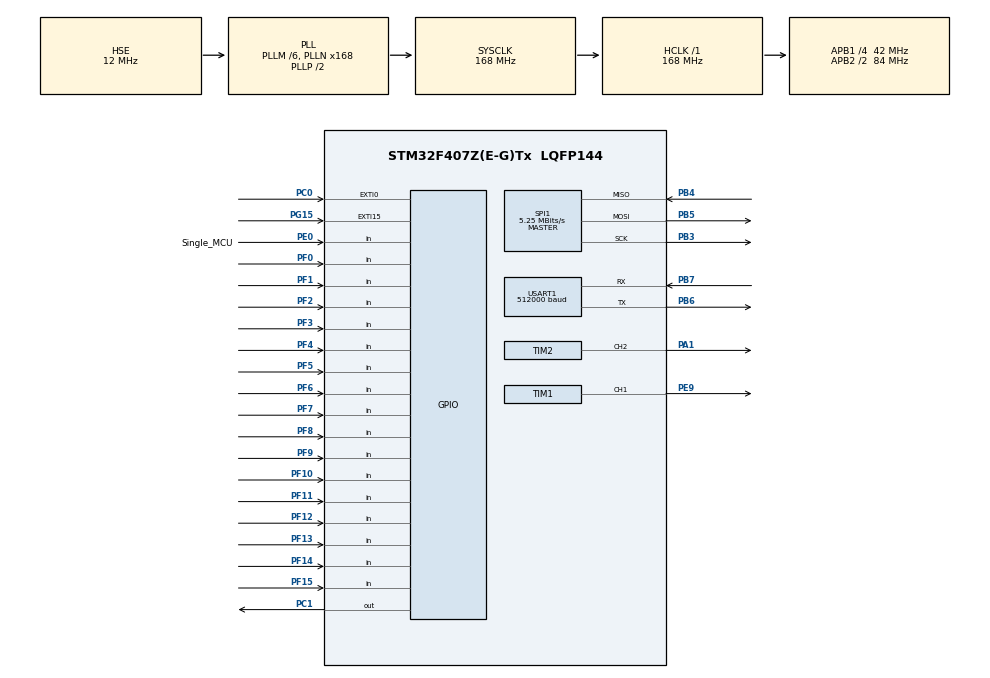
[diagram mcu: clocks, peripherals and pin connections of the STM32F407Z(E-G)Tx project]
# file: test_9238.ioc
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Dma.Request0=TIM1_UP
Dma.Request1=SPI1_TX
Dma.Request2=SPI1_RX
Dma.SPI1_RX.2.Direction=DMA_PERIPH_TO_MEMORY
Dma.SPI1_RX.2.FIFOMode=DMA_FIFOMODE_DISABLE
Dma.SPI1_RX.2.Instance=DMA2_Stream0
Dma.SPI1_RX.2.MemDataAlignment=DMA_MDATAALIGN_HALFWORD
Dma.SPI1_RX.2.MemInc=DMA_MINC_ENABLE
Dma.SPI1_RX.2.Mode=DMA_NORMAL
Dma.SPI1_RX.2.PeriphDataAlignment=DMA_PDATAALIGN_HALFWORD
Dma.SPI1_RX.2.PeriphInc=DMA_PINC_DISABLE
Dma.SPI1_RX.2.Priority=DMA_PRIORITY_LOW
Dma.SPI1_TX.1.Direction=DMA_MEMORY_TO_PERIPH
Dma.SPI1_TX.1.FIFOMode=DMA_FIFOMODE_DISABLE
Dma.SPI1_TX.1.Instance=DMA2_Stream3
Dma.SPI1_TX.1.MemDataAlignment=DMA_MDATAALIGN_HALFWORD
Dma.SPI1_TX.1.MemInc=DMA_MINC_ENABLE
Dma.SPI1_TX.1.Mode=DMA_NORMAL
Dma.SPI1_TX.1.PeriphDataAlignment=DMA_PDATAALIGN_HALFWORD
Dma.SPI1_TX.1.PeriphInc=DMA_PINC_DISABLE
Dma.SPI1_TX.1.Priority=DMA_PRIORITY_LOW
Dma.TIM1_UP.0.Direction=DMA_PERIPH_TO_MEMORY
Dma.TIM1_UP.0.FIFOMode=DMA_FIFOMODE_DISABLE
Dma.TIM1_UP.0.Instance=DMA2_Stream5
Dma.TIM1_UP.0.MemDataAlignment=DMA_MDATAALIGN_HALFWORD
Dma.TIM1_UP.0.MemInc=DMA_MINC_ENABLE
Dma.TIM1_UP.0.Mode=DMA_CIRCULAR
Dma.TIM1_UP.0.PeriphDataAlignment=DMA_PDATAALIGN_HALFWORD
Dma.TIM1_UP.0.PeriphInc=DMA_PINC_DISABLE
Dma.TIM1_UP.0.Priority=DMA_PRIORITY_LOW
Mcu.Family=STM32F4
Mcu.Name=STM32F407Z(E-G)Tx
Mcu.Package=LQFP144
NVIC.DMA2_Stream0_IRQn=true\:0\:0\:false\:false\:true\:false\:true\:true
NVIC.DMA2_Stream3_IRQn=true\:0\:0\:false\:false\:true\:false\:true\:true
NVIC.DMA2_Stream5_IRQn=true\:0\:0\:false\:false\:true\:false\:true\:true
NVIC.EXTI0_IRQn=true\:15\:0\:true\:false\:true\:true\:true\:true
NVIC.EXTI15_10_IRQn=true\:15\:0\:true\:false\:true\:true\:true\:true
NVIC.PriorityGroup=NVIC_PRIORITYGROUP_4
NVIC.SPI1_IRQn=true\:0\:0\:false\:false\:true\:true\:true\:true
NVIC.USART1_IRQn=true\:1\:0\:true\:false\:true\:true\:true\:true
PA1.Signal=S_TIM2_CH2
PA13.Mode=Serial_Wire
PA13.Signal=SYS_JTMS-SWDIO
PA14.Mode=Serial_Wire
PA14.Signal=SYS_JTCK-SWCLK
PB3.Mode=Full_Duplex_Master
PB3.Signal=SPI1_SCK
PB4.Mode=Full_Duplex_Master
PB4.Signal=SPI1_MISO
PB5.Mode=Full_Duplex_Master
PB5.Signal=SPI1_MOSI
PB6.Mode=Asynchronous
PB6.Signal=USART1_TX
PB7.Mode=Asynchronous
PB7.Signal=USART1_RX
PC0.GPIO_PuPd=GPIO_PULLDOWN
PC0.Signal=GPXTI0
PC1.GPIO_PuPd=GPIO_PULLDOWN
PC1.GPIO_Speed=GPIO_SPEED_FREQ_HIGH
PC1.Signal=GPIO_Output
PE0.GPIO_Label=Single_MCU
PE0.GPIO_PuPd=GPIO_PULLUP
PE0.Signal=GPIO_Input
PE9.Signal=S_TIM1_CH1
PF0.GPIO_PuPd=GPIO_NOPULL
PF0.Signal=GPIO_Input
PF1.GPIO_PuPd=GPIO_PULLUP
PF1.Signal=GPIO_Input
PF10.GPIO_PuPd=GPIO_PULLUP
PF10.Signal=GPIO_Input
PF11.GPIO_PuPd=GPIO_PULLUP
PF11.Signal=GPIO_Input
PF12.GPIO_PuPd=GPIO_PULLUP
PF12.Signal=GPIO_Input
PF13.GPIO_PuPd=GPIO_NOPULL
PF13.Signal=GPIO_Input
PF14.GPIO_PuPd=GPIO_PULLDOWN
PF14.Signal=GPIO_Input
PF15.GPIO_PuPd=GPIO_NOPULL
PF15.Signal=GPIO_Input
PF2.GPIO_PuPd=GPIO_PULLUP
PF2.Signal=GPIO_Input
PF3.GPIO_PuPd=GPIO_PULLUP
PF3.Signal=GPIO_Input
PF4.GPIO_PuPd=GPIO_PULLUP
PF4.Signal=GPIO_Input
PF5.GPIO_PuPd=GPIO_PULLUP
PF5.Signal=GPIO_Input
PF6.GPIO_PuPd=GPIO_PULLUP
PF6.Signal=GPIO_Input
PF7.GPIO_PuPd=GPIO_PULLUP
PF7.Signal=GPIO_Input
PF8.GPIO_PuPd=GPIO_PULLUP
PF8.Signal=GPIO_Input
PF9.GPIO_PuPd=GPIO_PULLUP
PF9.Signal=GPIO_Input
PG15.GPIO_PuPd=GPIO_PULLDOWN
PG15.Signal=GPXTI15
PH0-OSC_IN.Mode=HSE-External-Oscillator
PH0-OSC_IN.Signal=RCC_OSC_IN
PH1-OSC_OUT.Mode=HSE-External-Oscillator
PH1-OSC_OUT.Signal=RCC_OSC_OUT
ProjectManager.HeapSize=0x200
ProjectManager.StackSize=0x400
ProjectManager.TargetToolchain=MDK-ARM V5.32
RCC.48MHZClocksFreq_Value=84000000
RCC.AHBFreq_Value=168000000
RCC.APB1CLKDivider=RCC_HCLK_DIV4
RCC.APB1Freq_Value=42000000
RCC.APB1TimFreq_Value=84000000
RCC.APB2CLKDivider=RCC_HCLK_DIV2
RCC.APB2Freq_Value=84000000
RCC.APB2TimFreq_Value=168000000
RCC.CortexFreq_Value=168000000
RCC.HCLKFreq_Value=168000000
RCC.HSE_VALUE=12000000
RCC.HSI_VALUE=16000000
RCC.LSE_VALUE=32768
RCC.PLLM=6
RCC.PLLN=168
RCC.SYSCLKFreq_VALUE=168000000
RCC.SYSCLKSource=RCC_SYSCLKSOURCE_PLLCLK
RCC.VCOOutputFreq_Value=336000000
SH.S_TIM1_CH1.0=TIM1_CH1,PWM Generation1 CH1
SH.S_TIM2_CH2.0=TIM2_CH2,PWM Generation2 CH2
SPI1.BaudRatePrescaler=SPI_BAUDRATEPRESCALER_16
SPI1.CalculateBaudRate=5.25 MBits/s
SPI1.DataSize=SPI_DATASIZE_16BIT
SPI1.Direction=SPI_DIRECTION_2LINES
SPI1.Mode=SPI_MODE_MASTER
SPI1.VirtualType=VM_MASTER
TIM1.Channel-PWM\ Generation1\ CH1=TIM_CHANNEL_1
TIM1.TIM_MasterOutputTrigger=TIM_TRGO_UPDATE
TIM2.Channel-PWM\ Generation2\ CH2=TIM_CHANNEL_2
USART1.BaudRate=512000
USART1.VirtualMode=VM_ASYNC
VP_TIM1_VS_ClockSourceINT.Mode=Internal
VP_TIM2_VS_ClockSourceINT.Mode=Internal
board=custom

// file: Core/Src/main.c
/* USER CODE BEGIN Header */
/**
  ******************************************************************************
  * @file           : main.c
  * @brief          : Main program body
  ******************************************************************************
  * @attention
  *
  * Copyright (c) 2026 STMicroelectronics.
  * All rights reserved.
  *
  * This software is licensed under terms that can be found in the LICENSE file
  * in the root directory of this software component.
  * If no LICENSE file comes with this software, it is provided AS-IS.
  *
  ******************************************************************************
  */
/* USER CODE END Header */
#include "main.h"
#include "dma.h"
#include "spi.h"
#include "tim.h"
#include "gpio.h"
#include "usart.h"
#include "screen_app.h"

/* USER CODE BEGIN PD */
#define DAC_SPS 6000000
#define FFT_SIZE 4096
#define PF1_TO_PF12_MASK  0x7FF8
/* TIM1 读时刻相对 TIM2(ADC 时钟)上升沿的滞后：取 TIM1 ARR/2=21，
   使 DMA 读落在 ADC 时钟周期中点(~250ns)，避开 ADC 输出翻转窗 */
#define TIM1_READ_PHASE_OFFSET 21
/* USER CODE END PD */

/* USER CODE BEGIN PV */
//flag
volatile uint8_t buma=0;
volatile uint8_t ad9238_ok_flag=0;
volatile uint8_t data_1_flag=1;
volatile uint8_t rebegin_enable_flag=0;
//

/* H7 通信相关标志（当前已注释通信，保留声明以免后续恢复） */
//volatile uint8_t tx_enable_flag=0;
//volatile uint8_t tx_cplt_flag=0;
//volatile uint8_t rx_enable_flag=0;
//volatile uint8_t rx_cplt_flag=0;

extern DMA_HandleTypeDef hdma_tim1_up;
__attribute__((aligned(16))) uint16_t adc_data_3[FFT_SIZE];
//__attribute__((aligned(32))) uint32_t rxBuffer[6]={0};

volatile uint8_t a=0;
/* TIM1 读相位偏移（等效采样时随 ARR 更新） */
volatile uint16_t tim1_read_phase_offset = TIM1_READ_PHASE_OFFSET;
/* USER CODE END PV */

void SystemClock_Config(void);
/* USER CODE BEGIN PFP */
void HAL_DMA_XferCpltCallback(DMA_HandleTypeDef *hdma)
{
  ad9238_ok_flag=1;
}

/* H7 通信回调（当前已注释通信，保留以备恢复） */
//void HAL_GPIO_EXTI_Callback(uint16_t GPIO_Pin)
//{
//  if(GPIO_Pin==GPIO_PIN_15){
//    tx_enable_flag=1;
//  }else if(GPIO_Pin==GPIO_PIN_0){
//    rx_enable_flag=1;
//  }
//}
//
//void HAL_SPI_TxCpltCallback(SPI_HandleTypeDef *hspi)
//{
//  if(hspi->Instance==SPI1){
//    tx_cplt_flag=1;
//  }
//}
//
//void HAL_SPI_RxCpltCallback(SPI_HandleTypeDef *hspi)
//{
//  if(hspi->Instance==SPI1){
//    rx_cplt_flag=1;
//  }
//}

/* USER CODE END PFP */

int main(void)
{

  /* MCU Configuration--------------------------------------------------------*/

  /* Reset of all peripherals, Initializes the Flash interface and the Systick. */
  HAL_Init();

  /* Configure the system clock */
  SystemClock_Config();

  /* Initialize all configured peripherals */
  MX_GPIO_Init();
  MX_DMA_Init();
  MX_TIM1_Init();
  MX_TIM2_Init();
  MX_SPI1_Init();
  MX_USART1_UART_Init();
  /* USER CODE BEGIN 2 */
  HAL_GPIO_WritePin(GPIOG, GPIO_PIN_15, GPIO_PIN_RESET);        //始终开启片选

  /* ---- AD9238 采集时序配置（保留） ---- */
	TIM2->PSC =2-1;
	TIM2->ARR = (42000000U + DAC_SPS / 2U) / DAC_SPS - 1U;
  TIM2->EGR |= TIM_EGR_UG;
	__HAL_TIM_SET_COMPARE(&htim2, TIM_CHANNEL_2, (TIM2->ARR+1)*2/3);
	HAL_TIM_PWM_Start(&htim2, TIM_CHANNEL_2);

  TIM1->PSC =2-1;
	TIM1->ARR = (84000000U + DAC_SPS / 2U) / DAC_SPS - 1U;
  TIM1->EGR |= TIM_EGR_UG;

	hdma_tim1_up.XferCpltCallback = HAL_DMA_XferCpltCallback;
	HAL_DMA_Start_IT(&hdma_tim1_up, (uint32_t)&GPIOF->IDR ,(uint32_t)adc_data_3,  sizeof(adc_data_3)/sizeof(uint16_t));
__HAL_TIM_ENABLE_DMA(&htim1, TIM_DMA_UPDATE);

	HAL_Delay(1);
	__HAL_TIM_ENABLE(&htim2);
	__NOP();
	__NOP();__NOP();__NOP();__NOP();

	__HAL_TIM_SET_COUNTER(&htim1, tim1_read_phase_offset);
	__HAL_TIM_ENABLE(&htim1);

  /* ---- 屏幕显示初始化（屏工程逻辑，内部含 500ms 屏启动等待）---- */
  ScreenApp_Init();
  /* USER CODE END 2 */

  /* Infinite loop */
  /* USER CODE BEGIN WHILE */
  while (1)
  {
    /* 屏幕显示任务：当前数据源为 wave_table 测试数据（SCREEN_TEST_ENABLE=1） */
    ScreenApp_Task();

    /* ---- AD9238 采集处理（保留） ---- */
    if(ad9238_ok_flag==1){
      ad9238_ok_flag=0;
      __HAL_TIM_DISABLE(&htim1);
      __HAL_TIM_DISABLE(&htim2);
      __HAL_TIM_SET_COUNTER(&htim2, 0);__HAL_TIM_SET_COUNTER(&htim1, tim1_read_phase_offset);

      /* 12 位数据转换（buma=1 符号扩展，buma=0 直接右移） */
      if(buma==1){
        for (uint16_t i = 0; i < FFT_SIZE; i++)
        {
          uint16_t raw_data = ((adc_data_3[i] & 0x7FF8) >> 3);
          if (raw_data & (0x0800)) {
            adc_data_3[i] = (int16_t)(raw_data | 0xF000);
          } else {
            adc_data_3[i] = (int16_t)raw_data;
          }
        }
      }else if(buma==0){
        for (uint16_t i = 0; i < FFT_SIZE; i++){
          uint16_t raw_data = ((adc_data_3[i] & 0x7FF8) >> 3);
          adc_data_3[i] = raw_data;
        }
      }

      /* 转换完成，自动重新开始采集 */
      rebegin_enable_flag=1;
    }

    /* ---- H7 通信（已注释，屏显示仅用 wave_table 测试数据）---- */
    /*
    if(data_1_flag==1 && tx_enable_flag==1){
      data_1_flag=0;
      tx_enable_flag=0;
      HAL_SPI_Transmit_DMA(&hspi1, (uint8_t*)adc_data_3, sizeof(adc_data_3)/sizeof(uint16_t));
    }
    if(tx_cplt_flag==1 && rx_enable_flag==1){
      tx_cplt_flag=0;
      rx_enable_flag=0;
      HAL_SPI_Receive_DMA(&hspi1, (uint8_t*)rxBuffer, sizeof(rxBuffer)/sizeof(uint16_t));
    }
    if(rx_cplt_flag==1){
      rx_cplt_flag=0;
      rebegin_enable_flag=1;
    }
    */

    if(rebegin_enable_flag==1){
      //重新开始采集
      rebegin_enable_flag=0;
      __HAL_TIM_ENABLE(&htim2);
      __NOP();
      __NOP();__NOP();__NOP();__NOP();
      __HAL_TIM_SET_COUNTER(&htim1, tim1_read_phase_offset);
      __HAL_TIM_ENABLE(&htim1);

      HAL_GPIO_WritePin(GPIOC, GPIO_PIN_1, GPIO_PIN_SET);
      HAL_Delay(2);
      HAL_GPIO_WritePin(GPIOC, GPIO_PIN_1, GPIO_PIN_RESET);
    }

    /* USER CODE END WHILE */

  }
}

void SystemClock_Config(void)
{
  RCC_OscInitTypeDef RCC_OscInitStruct = {0};
  RCC_ClkInitTypeDef RCC_ClkInitStruct = {0};

  /** Configure the main internal regulator output voltage
  */
  __HAL_RCC_PWR_CLK_ENABLE();
  __HAL_PWR_VOLTAGESCALING_CONFIG(PWR_REGULATOR_VOLTAGE_SCALE1);

  /** Initializes the RCC Oscillators according to the specified parameters
  * in the RCC_OscInitTypeDef structure.
  */
  RCC_OscInitStruct.OscillatorType = RCC_OSCILLATORTYPE_HSE;
  RCC_OscInitStruct.HSEState = RCC_HSE_ON;
  RCC_OscInitStruct.PLL.PLLState = RCC_PLL_ON;
  RCC_OscInitStruct.PLL.PLLSource = RCC_PLLSOURCE_HSE;
  RCC_OscInitStruct.PLL.PLLM = 6;
  RCC_OscInitStruct.PLL.PLLN = 168;
  RCC_OscInitStruct.PLL.PLLP = RCC_PLLP_DIV2;
  RCC_OscInitStruct.PLL.PLLQ = 4;
  if (HAL_RCC_OscConfig(&RCC_OscInitStruct) != HAL_OK)
  {
    Error_Handler();
  }

  /** Initializes the CPU, AHB and APB buses clocks
  */
  RCC_ClkInitStruct.ClockType = RCC_CLOCKTYPE_HCLK|RCC_CLOCKTYPE_SYSCLK
                              |RCC_CLOCKTYPE_PCLK1|RCC_CLOCKTYPE_PCLK2;
  RCC_ClkInitStruct.SYSCLKSource = RCC_SYSCLKSOURCE_PLLCLK;
  RCC_ClkInitStruct.AHBCLKDivider = RCC_SYSCLK_DIV1;
  RCC_ClkInitStruct.APB1CLKDivider = RCC_HCLK_DIV4;
  RCC_ClkInitStruct.APB2CLKDivider = RCC_HCLK_DIV2;

  if (HAL_RCC_ClockConfig(&RCC_ClkInitStruct, FLASH_LATENCY_5) != HAL_OK)
  {
    Error_Handler();
  }
}

void Error_Handler(void)
{
  __disable_irq();
  while (1)
  {
  }
}
